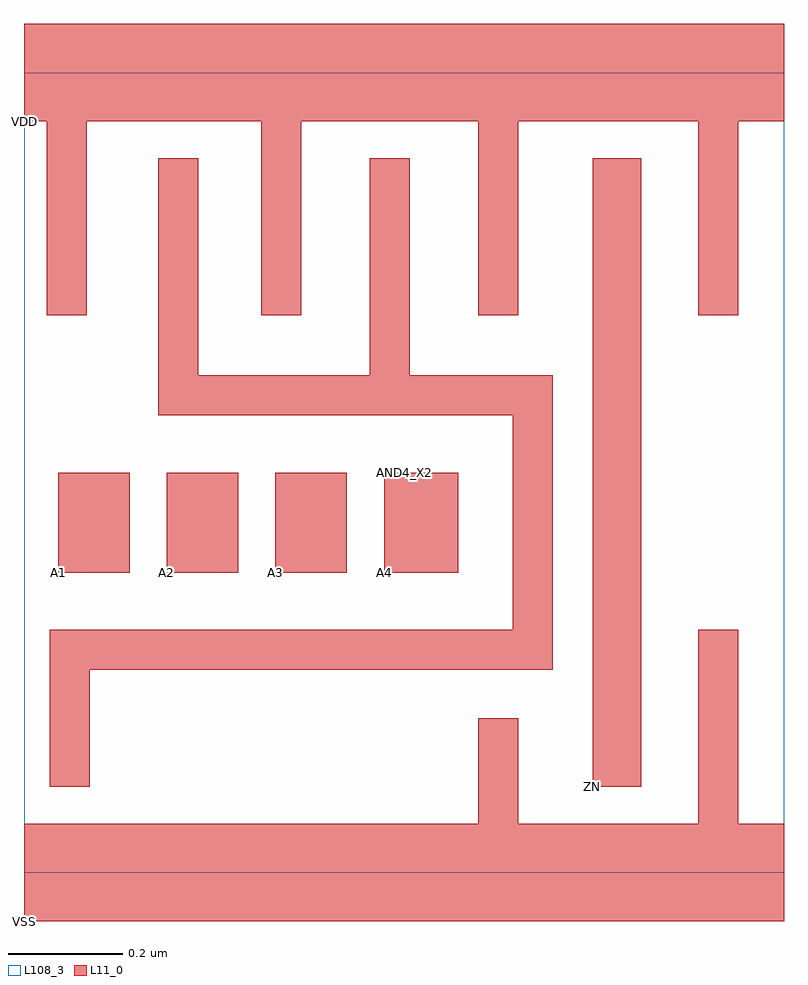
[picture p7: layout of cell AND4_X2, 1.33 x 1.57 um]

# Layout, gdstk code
import gdstk
lib = gdstk.Library(unit=1e-6, precision=1e-09)
def R(c, l, rs):  # rectangles x0, y0, x1, y1
    for r in rs: c.add(gdstk.rectangle(r[:2], r[2:], *l))
def A(c, l, x, y, w, h, nx, ny, dx, dy):  # array of equal rectangles
    R(c, l, [(x+i*dx, y+j*dy, x+i*dx+w, y+j*dy+h) for i in range(nx) for j in range(ny)])
def P(c, l, *ps):  # polygons
    for p in ps: c.add(gdstk.Polygon(p, *l))
L11_0 = (11, 0)
L108_3 = (108, 3)

and4_x2 = lib.new_cell('AND4_X2')
A(and4_x2, L11_0, 0.06, 0.525, 0.125, 0.175, 3, 1, 0.19, 0)
R(and4_x2, L11_0, [(0.995,0.15,1.08,1.25), (0.63,0.525,0.76,0.7)])
P(and4_x2, L11_0, [(0,1.315),(0.04,1.315),(0.04,0.975),(0.11,0.975),(0.11,1.315),(0.415,1.315),(0.415,0.975),(0.485,0.975),(0.485,1.315),(0.795,1.315),(0.795,0.975),(0.865,0.975),(0.865,1.315),(0.925,1.315),(1.18,1.315),(1.18,0.975),(1.25,0.975),(1.25,1.315),(1.33,1.315),(1.33,1.485),(0.925,1.485),(0,1.485)],
  [(0,-0.085),(1.33,-0.085),(1.33,0.085),(1.25,0.085),(1.25,0.425),(1.18,0.425),(1.18,0.085),(0.865,0.085),(0.865,0.27),(0.795,0.27),(0.795,0.085),(0,0.085)],
  [(0.235,0.8),(0.855,0.8),(0.855,0.425),(0.045,0.425),(0.045,0.15),(0.115,0.15),(0.115,0.355),(0.925,0.355),(0.925,0.87),(0.675,0.87),(0.675,1.25),(0.605,1.25),(0.605,0.87),(0.305,0.87),(0.305,1.25),(0.235,1.25)])
R(and4_x2, L108_3, [(0,0,1.33,1.4)])
and4_x2.add(gdstk.Label('AND4_X2', (0.665,0.7), layer=108, texttype=3))
and4_x2.add(gdstk.Label('A1', (0.06,0.525), layer=11, texttype=0))
and4_x2.add(gdstk.Label('A2', (0.25,0.525), layer=11, texttype=0))
and4_x2.add(gdstk.Label('A3', (0.44,0.525), layer=11, texttype=0))
and4_x2.add(gdstk.Label('A4', (0.63,0.525), layer=11, texttype=0))
and4_x2.add(gdstk.Label('ZN', (0.995,0.15), layer=11, texttype=0))
and4_x2.add(gdstk.Label('VDD', (0,1.315), layer=11, texttype=0))
and4_x2.add(gdstk.Label('VSS', (0,-0.085), layer=11, texttype=0))

lib.write_gds('AND4_X2.gds')
